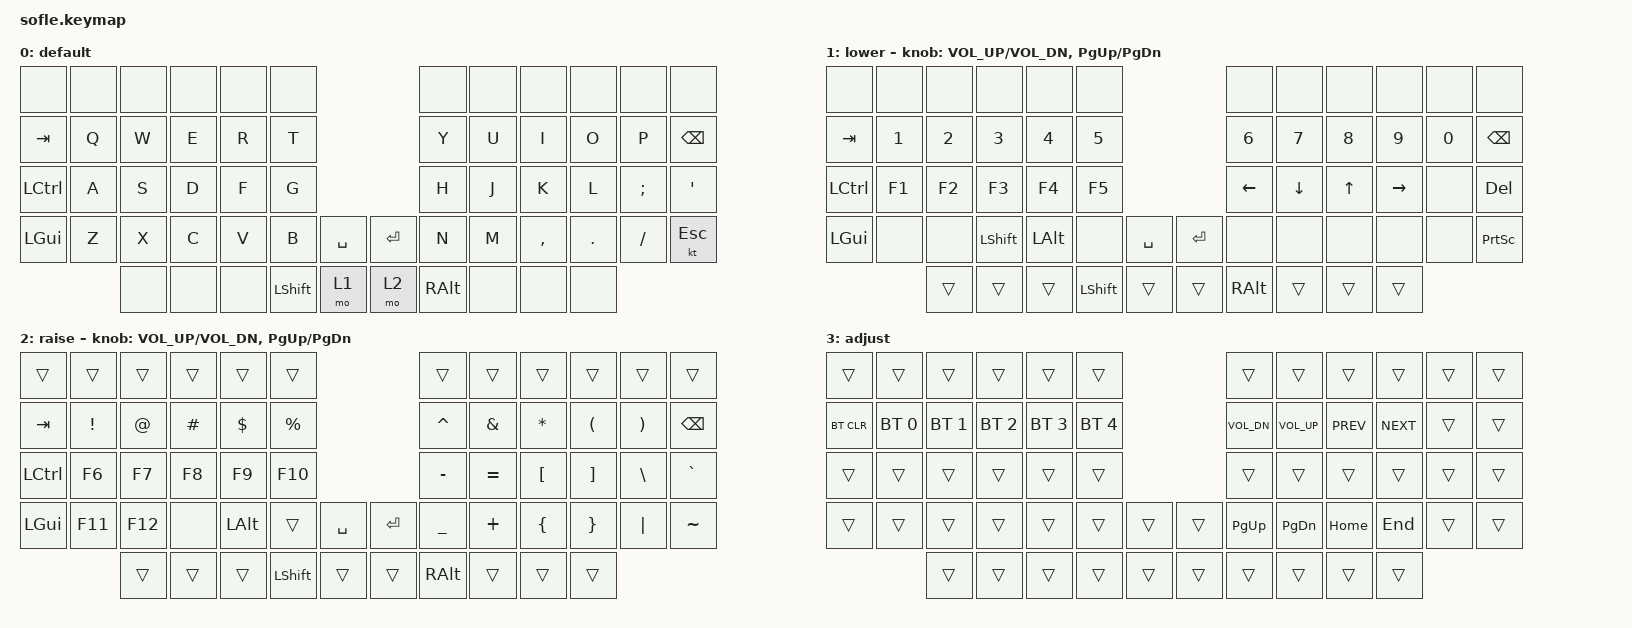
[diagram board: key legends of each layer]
/*
 * Copyright (c) 2020 The ZMK Contributors
 *
 * SPDX-License-Identifier: MIT
 */

#include <behaviors.dtsi>
#include <dt-bindings/zmk/bt.h>
#include <dt-bindings/zmk/keys.h>

#define BASE 0
#define LOWER 1
#define RAISE 2
#define ADJUST 3

/ {
    // Activate ADJUST layer by pressing raise and lower

    conditional_layers {
        compatible = "zmk,conditional-layers";

        Layer3 {
            if-layers = <1 2>;
            then-layer = <3>;
        };
    };

    combos {
        compatible = "zmk,combos";

        combo_layer {
            bindings = <&mo 3>;
            key-positions = <54 55>;
            timeout-ms = <100>;
        };
    };

    keymap {
        compatible = "zmk,keymap";

        default_layer {
            display-name = "default";

            // ------------------------------------------------------------------------------------------------------------
            // |   `   |  1  |  2  |  3   |  4   |  5   |                   |  6   |  7    |  8    |  9   |   0   |       |
            // |  ESC  |  Q  |  W  |  E   |  R   |  T   |                   |  Y   |  U    |  I    |  O   |   P   | BKSPC |
            // |  TAB  |  A  |  S  |  D   |  F   |  G   |                   |  H   |  J    |  K    |  L   |   ;   |   '   |
            // | SHIFT |  Z  |  X  |  C   |  V   |  B   |  MUTE  |  |       |  N   |  M    |  ,    |  .   |   /   | SHIFT |
            //               | GUI | ALT  | CTRL | LOWER|  ENTER |  | SPACE | RAISE| CTRL  | ALT   | GUI  |

            bindings = <
&none      &none  &none  &none  &none  &none                                   &none          &none  &none      &none    &none     &none
&kp TAB    &kp Q  &kp W  &kp E  &kp R  &kp T                                   &kp Y          &kp U  &kp I      &kp O    &kp P     &kp BSPC
&kp LCTRL  &kp A  &kp S  &kp D  &kp F  &kp G                                   &kp H          &kp J  &kp K      &kp L    &kp SEMI  &kp SQT
&kp LGUI   &kp Z  &kp X  &kp C  &kp V  &kp B           &kp SPACE    &kp ENTER  &kp N          &kp M  &kp COMMA  &kp DOT  &kp FSLH  &kt ESC
                  &none  &none  &none  &kp LEFT_SHIFT  &mo 1        &mo 2      &kp RIGHT_ALT  &none  &none      &none
            >;
        };

        lower_layer {
            display-name = "lower";

            // TODO: Some binds are waiting for shifted keycode support.
            // ------------------------------------------------------------------------------------------------------------
            // |       |  F1 |  F2 |  F3  |  F4  |  F5  |                   |  F6  |  F7   |  F8   |  F9  |  F10  |  F11  |
            // |   `   |  1  |  2  |  3   |  4   |  5   |                   |  6   |  7    |  8    |  9   |   0   |  F12  |
            // |       |  !  |  @  |  #   |  $   |  %   |                   |  ^   |  &    |  *    |  (   |   )   |   |   |
            // |       |  =  |  -  |  +   |  {   |  }   |        |  |       |  [   |  ]    |  ;    |  :   |   \   |       |
            //               |     |      |      |      |        |  |       |      |       |       |      |

            bindings = <
&none      &none   &none   &none       &none     &none                                   &none          &none     &none         &none      &none   &none
&kp TAB    &kp N1  &kp N2  &kp N3      &kp N4    &kp N5                                  &kp N6         &kp N7    &kp N8        &kp N9     &kp N0  &kp BACKSPACE
&kp LCTRL  &kp F1  &kp F2  &kp F3      &kp F4    &kp F5                                  &kp LEFT       &kp DOWN  &kp UP_ARROW  &kp RIGHT  &none   &kp DELETE
&kp LGUI   &none   &none   &kp LSHIFT  &kp LALT  &none           &kp SPACE    &kp ENTER  &none          &none     &none         &none      &none   &kp PRINTSCREEN
                   &trans  &trans      &trans    &kp LEFT_SHIFT  &trans       &trans     &kp RIGHT_ALT  &trans    &trans        &trans
            >;

            sensor-bindings = <&inc_dec_kp C_VOL_UP C_VOL_DN &inc_dec_kp PG_UP PG_DN>;
        };

        raise_layer {
            display-name = "raise";

            // ------------------------------------------------------------------------------------------------------------
            // | BTCLR | BT1  | BT2  |  BT3  |  BT4  |  BT5 |                |      |      |       |      |       |       |
            // |       | INS  | PSCR | GUI   |       |      |                | PGUP |      |   ^   |      |       |       |
            // |       | ALT  | CTRL | SHIFT |       | CAPS |                | PGDN |   <- |   v   |  ->  |  DEL  | BKSPC |
            // |       | UNDO | CUT  | COPY  | PASTE |      |      |  |      |      |      |       |      |       |       |
            //                |      |       |       |      |      |  |      |      |      |       |      |

            bindings = <
&trans     &trans    &trans       &trans    &trans      &trans                               &trans          &trans         &trans            &trans                &trans                 &trans
&kp TAB    &kp EXCL  &kp AT_SIGN  &kp HASH  &kp DOLLAR  &kp PERCENT                          &kp CARET       &kp AMPERSAND  &kp ASTERISK      &kp LEFT_PARENTHESIS  &kp RIGHT_PARENTHESIS  &kp BACKSPACE
&kp LCTRL  &kp F6    &kp F7       &kp F8    &kp F9      &kp F10                              &kp MINUS       &kp EQUAL      &kp LEFT_BRACKET  &kp RIGHT_BRACKET     &kp BSLH               &kp GRAVE
&kp LGUI   &kp F11   &kp F12      &none     &kp LALT    &trans       &kp SPACE    &kp ENTER  &kp UNDERSCORE  &kp PLUS       &kp LEFT_BRACE    &kp RIGHT_BRACE       &kp PIPE               &kp TILDE
                     &trans       &trans    &trans      &kp LSHIFT   &trans       &trans     &kp RIGHT_ALT   &trans         &trans            &trans
            >;

            sensor-bindings = <&inc_dec_kp C_VOL_UP C_VOL_DN &inc_dec_kp PG_UP PG_DN>;
        };

        adjust_layer {
            // ----------------------------------------------------------------------------------------------------------------------------
            // | BTCLR  |  BT1    |  BT2    |   BT3   |   BT4   |   BT5   |                  |      |      |       |      |       |       |
            // | EXTPWR | RGB_HUD | RGB_HUI | RGB_SAD | RGB_SAI | RGB_EFF |                  |      |      |       |      |       |       |
            // |        | RGB_BRD | RGB_BRI |         |         |         |                  |      |      |       |      |       |       |
            // |        |         |         |         |         |         | RGB_TOG | |      |      |      |       |      |       |       |
            //                    |         |         |         |         |         | |      |      |      |       |      |

            display-name = "adjust";
            bindings = <
&trans      &trans        &trans        &trans        &trans        &trans                          &trans        &trans         &trans      &trans      &trans  &trans
&bt BT_CLR  &bt BT_SEL 0  &bt BT_SEL 1  &bt BT_SEL 2  &bt BT_SEL 3  &bt BT_SEL 4                    &kp C_VOL_DN  &kp C_VOL_UP   &kp K_PREV  &kp K_NEXT  &trans  &trans
&trans      &trans        &trans        &trans        &trans        &trans                          &trans        &trans         &trans      &trans      &trans  &trans
&trans      &trans        &trans        &trans        &trans        &trans        &trans    &trans  &kp PAGE_UP   &kp PAGE_DOWN  &kp HOME    &kp END     &trans  &trans
                          &trans        &trans        &trans        &trans        &trans    &trans  &trans        &trans         &trans      &trans
            >;
        };
    };
};
